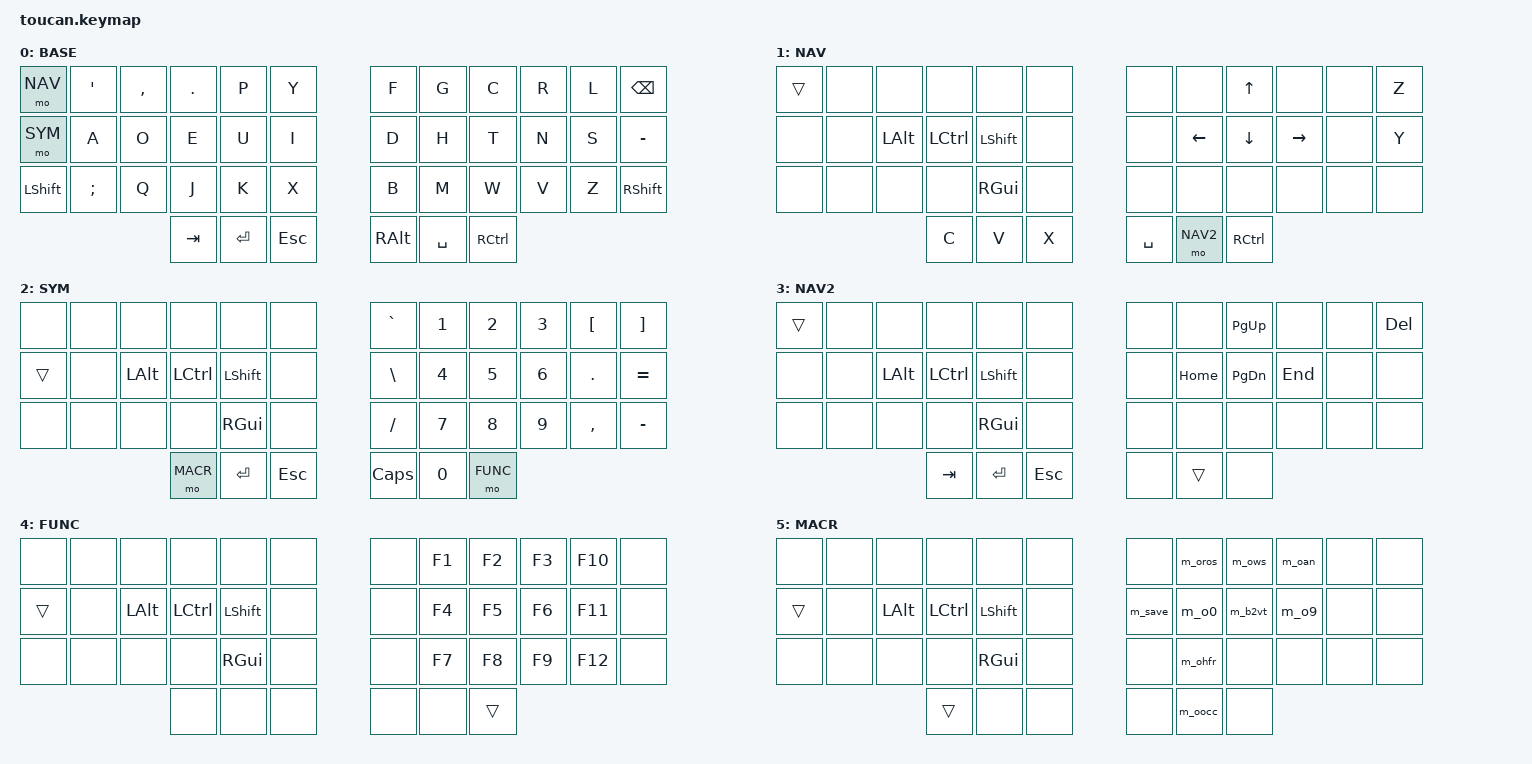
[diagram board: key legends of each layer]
#include <behaviors.dtsi>
#include <dt-bindings/zmk/keys.h>
#include <dt-bindings/zmk/bt.h>
#include <dt-bindings/zmk/outputs.h>

#define BASE 0
#define NAV  1
#define SYM  2
#define NAV2 3
#define FUNC 4
#define MACR 5

&glidepoint_listener {
    status = "okay";
};

/ {
    macros {
        m_save: m_save {
            compatible = "zmk,behavior-macro";
            #binding-cells = <0>;
            wait-ms = <0>;
            tap-ms = <0>;
            bindings = <&kp LS(LG(S))>;
        };
        m_oros: m_oros {
            compatible = "zmk,behavior-macro";
            #binding-cells = <0>;
            wait-ms = <0>;
            tap-ms = <0>;
            bindings = <&kp LALT &kp O &kp R &kp O &kp S &kp RET>;
        };
        m_o0: m_o0 {
            compatible = "zmk,behavior-macro";
            #binding-cells = <0>;
            wait-ms = <0>;
            tap-ms = <0>;
            bindings = <&kp LALT &kp O &kp N0>;
        };
        m_o9: m_o9 {
            compatible = "zmk,behavior-macro";
            #binding-cells = <0>;
            wait-ms = <0>;
            tap-ms = <0>;
            bindings = <&kp LALT &kp O &kp N9>;
        };
        m_ows: m_ows {
            compatible = "zmk,behavior-macro";
            #binding-cells = <0>;
            wait-ms = <0>;
            tap-ms = <0>;
            bindings = <&kp LALT &kp O &kp W &kp S>;
        };
        m_oan: m_oan {
            compatible = "zmk,behavior-macro";
            #binding-cells = <0>;
            wait-ms = <0>;
            tap-ms = <0>;
            bindings = <&kp LALT &kp O &kp A &kp N &kp RET>;
        };
        m_b2vt: m_b2vt {
            compatible = "zmk,behavior-macro";
            #binding-cells = <0>;
            wait-ms = <0>;
            tap-ms = <0>;
            bindings = <&kp LALT &kp B &kp N2 &kp V &kp T>;
        };
        m_ohfr: m_ohfr {
            compatible = "zmk,behavior-macro";
            #binding-cells = <0>;
            wait-ms = <0>;
            tap-ms = <0>;
            bindings = <&kp LALT &kp O &kp H &kp F &kp R>;
        };
        m_oocc: m_oocc {
            compatible = "zmk,behavior-macro";
            #binding-cells = <0>;
            wait-ms = <0>;
            tap-ms = <0>;
            bindings = <&kp LALT &kp O &kp O &kp C &kp C>;
        };
    };

    keymap {
        compatible = "zmk,keymap";

        base {
            display-name = "BASE";
            bindings = <
                &mo NAV   &kp SQT  &kp COMMA &kp DOT &kp P &kp Y     &kp F     &kp G     &kp C     &kp R   &kp L  &kp BSPC
                &mo SYM   &kp A    &kp O     &kp E   &kp U &kp I     &kp D     &kp H     &kp T     &kp N   &kp S  &kp MINUS
                &kp LSHFT &kp SEMI &kp Q     &kp J   &kp K &kp X     &kp B     &kp M     &kp W     &kp V   &kp Z  &kp RSHFT
                                       &kp TAB &kp RET &kp ESC       &kp RALT  &kp SPACE &kp RCTRL
            >;
        };

        nav {
            display-name = "NAV";
            bindings = <
                &trans &none &none    &none     &none     &none     &none     &none      &kp UP   &none      &none &kp Z
                &none  &none &kp LALT &kp LCTRL &kp LSHFT &none     &none     &kp LEFT   &kp DOWN &kp RIGHT  &none &kp Y
                &none  &none &none    &none     &kp RGUI  &none     &none     &none      &none    &none      &none &none
                                            &kp C &kp V &kp X       &kp SPACE &mo NAV2  &kp RCTRL
            >;
        };

        sym {
            display-name = "SYM";
            bindings = <
                &none  &none &none    &none     &none     &none     &kp GRAVE &kp N1   &kp N2  &kp N3  &kp LBKT  &kp RBKT
                &trans &none &kp LALT &kp LCTRL &kp LSHFT &none     &kp BSLH  &kp N4   &kp N5  &kp N6  &kp DOT   &kp EQUAL
                &none  &none &none    &none     &kp RGUI  &none     &kp FSLH  &kp N7   &kp N8  &kp N9  &kp COMMA &kp MINUS
                                       &mo MACR &kp RET &kp ESC     &kp CAPS  &kp N0   &mo FUNC
            >;
        };

        nav2 {
            display-name = "NAV2";
            bindings = <
                &trans &none &none    &none     &none     &none     &none &none    &kp PG_UP &none   &none &kp DEL
                &none  &none &kp LALT &kp LCTRL &kp LSHFT &none     &none &kp HOME &kp PG_DN &kp END &none &none
                &none  &none &none    &none     &kp RGUI  &none     &none &none    &none     &none   &none &none
                                       &kp TAB &kp RET &kp ESC      &none &trans   &none
            >;
        };

        func {
            display-name = "FUNC";
            bindings = <
                &none  &none &none    &none     &none     &none     &none  &kp F1 &kp F2 &kp F3 &kp F10 &none
                &trans &none &kp LALT &kp LCTRL &kp LSHFT &none     &none  &kp F4 &kp F5 &kp F6 &kp F11 &none
                &none  &none &none    &none     &kp RGUI  &none     &none  &kp F7 &kp F8 &kp F9 &kp F12 &none
                                            &none &none &none       &none  &none  &trans
            >;
        };

        macr {
            display-name = "MACR";
            bindings = <
                &none  &none &none    &none     &none     &none     &none   &m_oros &m_ows  &m_oan &none &none
                &trans &none &kp LALT &kp LCTRL &kp LSHFT &none     &m_save &m_o0   &m_b2vt &m_o9  &none &none
                &none  &none &none    &none     &kp RGUI  &none     &none   &m_ohfr &none   &none  &none &none
                                          &trans &none &none        &none   &m_oocc &none
            >;
        };
    };
};
